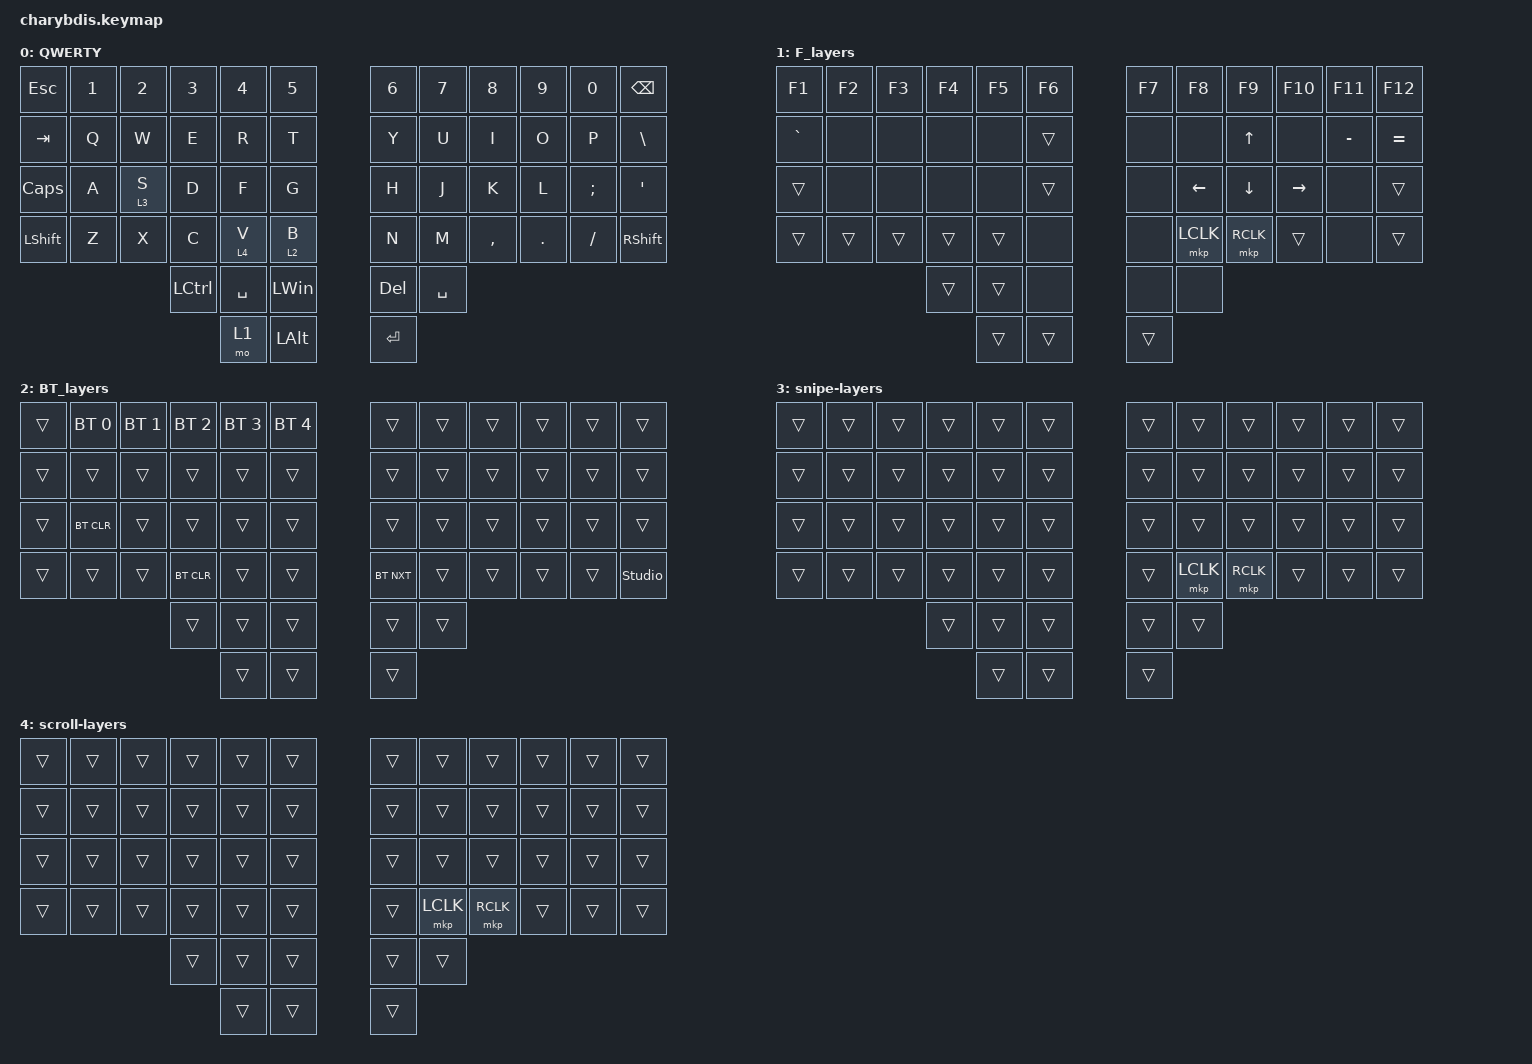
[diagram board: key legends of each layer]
#include <behaviors.dtsi>
#include <dt-bindings/zmk/bt.h>
#include <dt-bindings/zmk/keys.h>
#include <dt-bindings/zmk/pointing.h>

&lt {
    tapping-term-ms = <150>;
    flavor = "tap-preferred";
    quick-tap-ms = <150>;
};

/ {
    keymap {
        compatible = "zmk,keymap";

        QWERTY {
            bindings = <
&kp ESC         &kp N1  &kp N2   &kp N3            &kp N4        &kp N5          &kp N6      &kp N7     &kp N8     &kp N9   &kp N0    &kp BACKSPACE
&kp TAB         &kp Q   &kp W    &kp E             &kp R         &kp T           &kp Y       &kp U      &kp I      &kp O    &kp P     &kp BSLH
&kp CAPSLOCK    &kp A   &lt 3 S  &kp D             &kp F         &kp G           &kp H       &kp J      &kp K      &kp L    &kp SEMI  &kp SQT
&kp LEFT_SHIFT  &kp Z   &kp X    &kp C             &lt 4 V       &lt 2 B         &kp N       &kp M      &kp COMMA  &kp DOT  &kp FSLH  &kp RIGHT_SHIFT
                                 &kp LEFT_CONTROL  &kp SPACE     &kp LEFT_WIN    &kp DELETE  &kp SPACE
                                                   &mo 1         &kp LEFT_ALT    &kp ENTER
            >;
        };

        F_layers {
            bindings = <
&kp F1     &kp F2  &kp F3  &kp F4  &kp F5  &kp F6        &kp F7     &kp F8     &kp F9       &kp F10    &kp F11    &kp F12
&kp GRAVE  &none   &none   &none   &none   &trans        &none      &none      &kp UP_ARROW &none      &kp MINUS  &kp EQUAL
&trans     &none   &none   &none   &none   &trans        &none      &kp LEFT   &kp DOWN     &kp RIGHT  &none      &trans
&trans     &trans  &trans  &trans  &trans  &none         &none      &mkp LCLK  &mkp RCLK    &trans     &none      &trans
                        &trans  &trans  &none         &none      &none
                                &trans  &trans        &trans
            >;
        };

        BT_layers {
            bindings = <
&trans  &bt BT_SEL 0  &bt BT_SEL 1  &bt BT_SEL 2  &bt BT_SEL 3  &bt BT_SEL 4    &trans      &trans  &trans  &trans  &trans  &trans
&trans  &trans        &trans        &trans        &trans        &trans          &trans      &trans  &trans  &trans  &trans  &trans
&trans  &bt BT_CLR    &trans        &trans        &trans        &trans          &trans      &trans  &trans  &trans  &trans  &trans
&trans  &trans        &trans        &bt BT_CLR    &trans        &trans          &bt BT_NXT  &trans  &trans  &trans  &trans  &studio_unlock
                                    &trans        &trans        &trans          &trans      &trans
                                                  &trans        &trans          &trans
            >;
        };

        snipe-layers {
            bindings = <
&trans  &trans  &trans  &trans  &trans  &trans    &trans  &trans    &trans  &trans  &trans  &trans
&trans  &trans  &trans  &trans  &trans  &trans    &trans  &trans    &trans  &trans  &trans  &trans
&trans  &trans  &trans  &trans  &trans  &trans    &trans  &trans    &trans  &trans  &trans  &trans
&trans  &trans  &trans  &trans  &trans  &trans    &trans  &mkp LCLK &mkp RCLK  &trans  &trans  &trans
                        &trans  &trans  &trans    &trans  &trans
                                &trans  &trans    &trans
            >;
        };

        scroll-layers {
            bindings = <
&trans  &trans  &trans  &trans  &trans  &trans    &trans  &trans    &trans    &trans  &trans  &trans
&trans  &trans  &trans  &trans  &trans  &trans    &trans  &trans    &trans    &trans  &trans  &trans
&trans  &trans  &trans  &trans  &trans  &trans    &trans  &trans    &trans    &trans  &trans  &trans
&trans  &trans  &trans  &trans  &trans  &trans    &trans  &mkp LCLK &mkp RCLK &trans  &trans  &trans
                        &trans  &trans  &trans    &trans  &trans    
                                &trans  &trans    &trans
            >;
        };
    };
};
